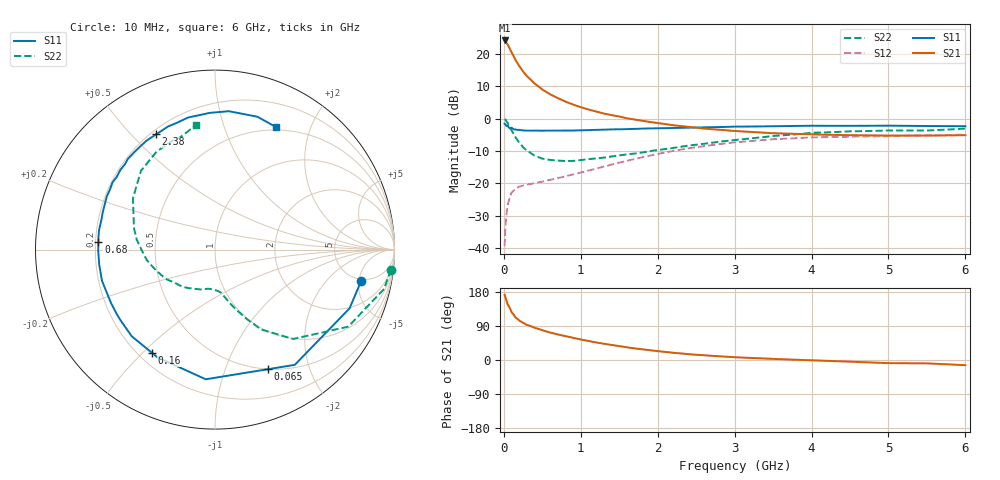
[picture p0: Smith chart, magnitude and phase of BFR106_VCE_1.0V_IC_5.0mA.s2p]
! Infineon Technologies  Discrete & RF Semiconductors
! BFR106
! VCE =  1.0 V,  IC =  5.0 mA
! Common Emitter S-Parameters:  Nov 2015
# GHz  S  MA  R  50
!  f  S11  S21  S12  S22
! GHz  MAG  ANG  MAG  ANG  MAG  ANG  MAG  ANG
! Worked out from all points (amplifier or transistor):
!   210 points, 10 MHz to 6 GHz, reference 50 ohm
!   highest |S21| = 24.1 dB at 10 MHz (marker M1)
!   |S21| within 3 dB of that: start of sweep to 85.89 MHz
!   unconditionally stable (mu >= 1): 590.7 MHz to 2.986 GHz; 3.015 GHz to end of sweep
!   at 185 MHz: K = 0.40, MSG = 19.0 dB, |S12| = -21.2 dB
!   at 1.52 GHz: K = 1.17, MAG = 4.5 dB, |S12| = -13.5 dB
!   at 6 GHz: K = 1.03, MAG = -1.1 dB, |S12| = -4.9 dB
!   S11 on the Smith chart (normalised r, x): 10 MHz: 4.76, -5.40; 65 MHz: 0.50, -1.42; 160 MHz: 0.25, -0.53; 680 MHz: 0.21, +0.03; 2.38 GHz: 0.22, +0.59; 6 GHz: 0.47, +1.51
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0.01  0.8333 -12.0  16.07 172.3  0.0107 85.1  0.9867 -6.5
0.02  0.818 -23.6  15.81 166.0  0.0211 77.9  0.9671 -13.1
0.05  0.781 -55.3  13.92 147.0  0.0466 62.3  0.858 -30.0
0.065  0.7289 -66.1  12.77 142.0  0.0537 56.1  0.791 -34.6
0.1  0.7244 -94.1  10.61 126.4  0.0719 46.6  0.6614 -48.8
0.15  0.6801 -118.3  8.083 112.6  0.0824 37.7  0.515 -59.9
0.16  0.6741 -121.3  7.749 111.2  0.0836 37.0  0.4964 -60.9
0.2  0.6695 -133.8  6.474 104.1  0.0885 34.2  0.4239 -65.5
0.26  0.655 -146.5  5.148 96.6  0.0932 32.4  0.3509 -70.8
0.3  0.6513 -152.9  4.515 92.7  0.0953 32.4  0.3201 -73.5
0.4  0.6531 -164.5  3.476 85.0  0.1005 33.5  0.267 -78.7
0.5  0.6506 -172.5  2.806 78.4  0.1062 35.2  0.2406 -82.4
0.68  0.6515 176.2  2.131 68.5  0.1181 40.1  0.2256 -90.5
0.8  0.6552 170.7  1.826 62.7  0.1284 42.9  0.2208 -96.2
1.02  0.6601 160.6  1.473 53.3  0.1486 47.3  0.23 -106.0
1.4  0.6828 146.8  1.128 39.7  0.1944 51.1  0.2602 -124.3
2.02  0.7079 127.3  0.843 23.0  0.2869 48.4  0.3292 -153.8
2.38  0.7217 117.1  0.75 15.7  0.3437 43.9  0.38 -170.1
3.1  0.7515 99.7  0.633 6.5  0.4382 31.3  0.4774 161.4
4.1  0.7735 83.0  0.565 -1.5  0.5138 13.8  0.6067 130.6
5.1  0.7746 71.3  0.546 -8.4  0.5376 0.5  0.6541 109.8
6  0.7622 63.5  0.554 -13.7  0.5665 -8.7  0.7001 98.9
